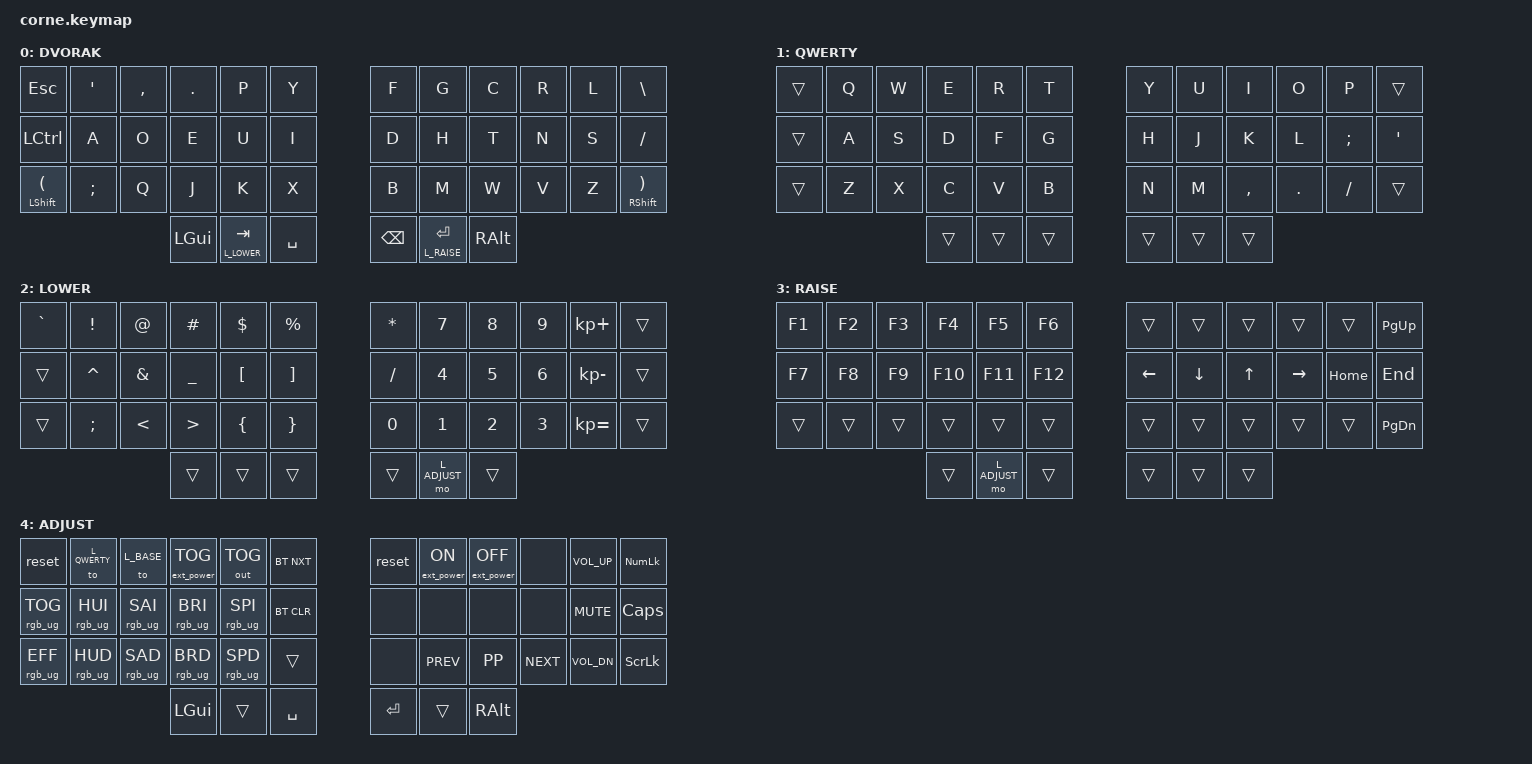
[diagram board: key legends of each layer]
/*
 * Copyright (c) 2020 The ZMK Contributors
 *
 * SPDX-License-Identifier: MIT
 */

#include <behaviors.dtsi>
#include <dt-bindings/zmk/keys.h>
#include <dt-bindings/zmk/bt.h>
#include <dt-bindings/zmk/rgb.h>
#include <dt-bindings/zmk/ext_power.h>
#include <dt-bindings/zmk/outputs.h>

#define L_BASE 0
#define L_QWERTY 1
#define L_LOWER 2
#define L_RAISE 3
#define L_ADJUST 4

#define _______ &trans

/ {
  combos {
    compatible = "zmk,combos";
    combo_cw {
      key-positions = <24 35>;
      bindings = <&caps_word>;
    };
  };
};

&lt {
  tapping-term-ms = <150>;
  quick-tap-ms = <150>;
};

&mt {
  tapping-term-ms = <150>;
  quick-tap-ms = <150>;
  flavor = "tap-preferred";
};


&caps_word {
  continue-list = <UNDERSCORE BACKSPACE>;
};

/ {
  keymap {
    compatible = "zmk,keymap";
    default_layer {
      label = "DVORAK";
      bindings = <
&kp ESC         &kp APOS    &kp COMMA &kp DOT    &kp P    &kp Y                                     &kp F    &kp G    &kp C    &kp R    &kp L &kp BSLH
&kp LCTRL       &kp A       &kp O     &kp E      &kp U    &kp I                                     &kp D    &kp H    &kp T    &kp N    &kp S &kp FSLH
&mt LSHIFT LPAR &kp SEMI    &kp Q     &kp J      &kp K    &kp X                                     &kp B    &kp M    &kp W    &kp V    &kp Z &mt RSHIFT RPAR
                                &kp LGUI &lt L_LOWER TAB &kp SPC         &kp BSPC &lt L_RAISE ENTER &kp RALT
      >;
    };
    qwerty_layer {
      label = "QWERTY";
      bindings = <
_______  &kp Q    &kp W    &kp E    &kp R    &kp T                                     &kp Y    &kp U    &kp I     &kp O    &kp P    _______
_______  &kp A    &kp S    &kp D    &kp F    &kp G                                     &kp H    &kp J    &kp K     &kp L    &kp SEMI &kp APOS
_______  &kp Z    &kp X    &kp C    &kp V    &kp B                                     &kp N    &kp M    &kp COMMA &kp DOT  &kp FSLH _______
                                          _______ _______ _______         _______ _______ _______
      >;
    };
    lower_layer {
      label = "LOWER";
      bindings = <
&kp GRAVE &kp EXCL  &kp AT   &kp HASH  &kp DLLR  &kp PRCNT                                    &kp STAR  &kp N7    &kp N8    &kp N9    &kp KP_PLUS   _______
_______   &kp CARET &kp AMPS &kp UNDER &kp LBKT  &kp RBKT                                     &kp SLASH &kp N4    &kp N5    &kp N6    &kp KP_MINUS  _______
_______   &kp SEMI  &kp LT   &kp GT    &kp LBRC  &kp RBRC                                     &kp N0    &kp N1    &kp N2    &kp N3    &kp KP_EQUAL  _______
                                           _______ _______ _______                  _______   &mo L_ADJUST _______
      >;
    };

    raise_layer {
      label = "RAISE";
      bindings = <
&kp F1  &kp F2  &kp F3  &kp F4  &kp F5  &kp F6                                   _______ _______ _______ _______ _______   &kp PG_UP
&kp F7  &kp F8  &kp F9  &kp F10 &kp F11 &kp F12                                  &kp LEFT &kp DOWN &kp UP &kp RIGHT &kp HOME &kp END
_______ _______ _______ _______ _______ _______                                  _______ _______ _______ _______ _______   &kp PG_DN
                                _______   &mo L_ADJUST _______           _______ _______ _______
      >;
    };
    adjust_layer {
      label = "ADJUST";
      bindings = <
&reset           &to L_QWERTY     &to L_BASE       &ext_power EP_TOG  &out OUT_TOG    &bt BT_NXT                                 &reset  &ext_power EP_ON  &ext_power EP_OFF  &none        &kp K_VOL_UP   &kp KP_NUM
&rgb_ug RGB_TOG  &rgb_ug RGB_HUI  &rgb_ug RGB_SAI  &rgb_ug RGB_BRI    &rgb_ug RGB_SPI &bt BT_CLR                                 &none   &none             &none              &none        &kp K_MUTE     &kp CAPS
&rgb_ug RGB_EFF  &rgb_ug RGB_HUD  &rgb_ug RGB_SAD  &rgb_ug RGB_BRD    &rgb_ug RGB_SPD _______                                    &none   &kp K_PREV        &kp K_PP           &kp K_NEXT   &kp K_VOL_DN   &kp SLCK
                                                                             &kp LGUI _______  &kp SPC              &kp ENTER _______ &kp RALT
      >;
    };
  };
};

